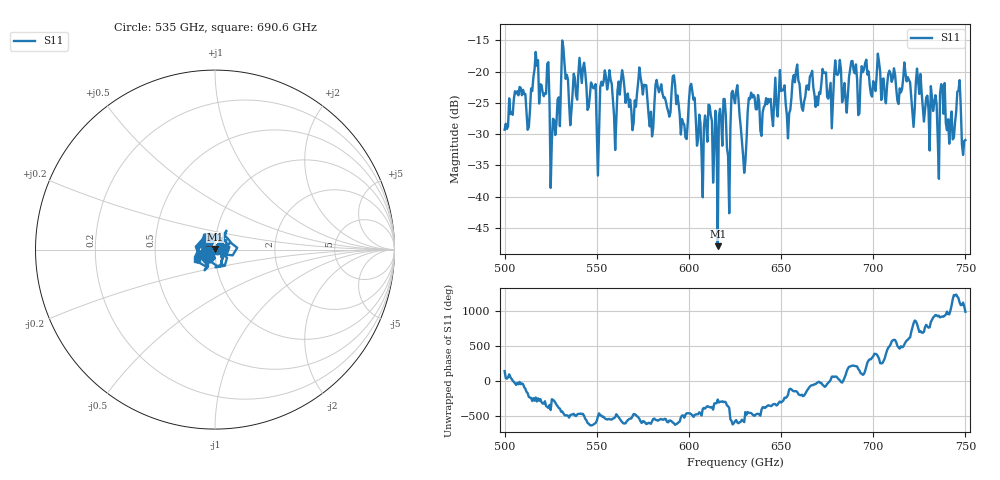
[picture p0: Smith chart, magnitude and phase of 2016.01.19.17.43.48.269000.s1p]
!Created with skrf (http://scikit-rf.org).
# GHz S RI R 50.0
!freq ReS11 ImS11
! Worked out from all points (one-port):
!   401 points, 500 GHz to 750 GHz, reference 50 ohm
!   lowest |S11| = -47.9 dB at 615.6 GHz (marker M1), VSWR 1.01, Z = 50 + j0.402 ohm
!   |S11| at or under -10 dB: start of sweep to end of sweep
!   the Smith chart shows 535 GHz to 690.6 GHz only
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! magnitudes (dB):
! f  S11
! 500 GHz  -29.3
! 513.1 GHz  -28.9
! 516.9 GHz  -16.8
! 523.1 GHz  -18.8
! 526.2 GHz  -27.5
! 531.2 GHz  -15.0
! 535.6 GHz  -28.6
! 541.9 GHz  -21.8
! 550 GHz  -29.4
! 553.8 GHz  -21.5
! 560 GHz  -32.5
! 562.5 GHz  -23.7
! 574.4 GHz  -21.9
! 579.4 GHz  -26.4
! 583.1 GHz  -22.5
! 593.8 GHz  -23.8
! 615.6 GHz  -47.9
! 618.1 GHz  -31.8
! 621.2 GHz  -33.5
! 625 GHz  -25.0
! 630 GHz  -36.2
! 633.8 GHz  -23.4
! 656.2 GHz  -21.4
! 687.5 GHz  -19.6
! 718.8 GHz  -20.9
! 742.5 GHz  -26.4
! 746.2 GHz  -23.0
! 750 GHz  -30.9
